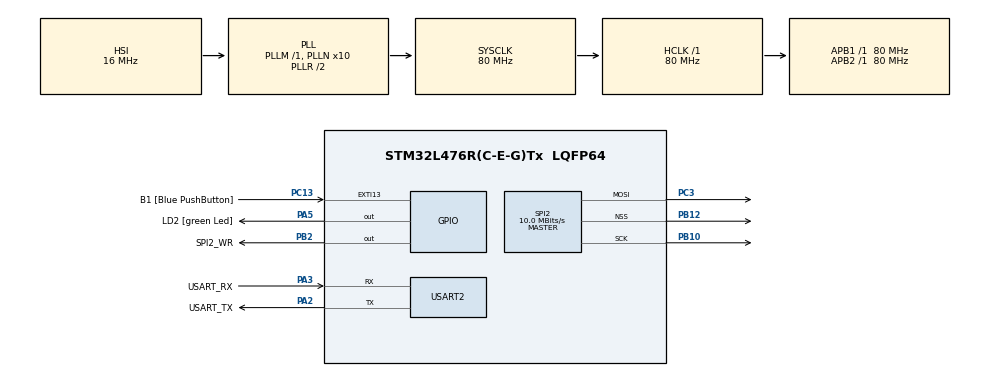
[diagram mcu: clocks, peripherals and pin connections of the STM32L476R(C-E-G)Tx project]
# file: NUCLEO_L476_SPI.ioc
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Dma.Request0=SPI2_TX
Dma.SPI2_TX.0.Direction=DMA_MEMORY_TO_PERIPH
Dma.SPI2_TX.0.Instance=DMA1_Channel5
Dma.SPI2_TX.0.MemDataAlignment=DMA_MDATAALIGN_BYTE
Dma.SPI2_TX.0.MemInc=DMA_MINC_ENABLE
Dma.SPI2_TX.0.Mode=DMA_NORMAL
Dma.SPI2_TX.0.PeriphDataAlignment=DMA_PDATAALIGN_BYTE
Dma.SPI2_TX.0.PeriphInc=DMA_PINC_DISABLE
Dma.SPI2_TX.0.Priority=DMA_PRIORITY_LOW
Mcu.Family=STM32L4
Mcu.Name=STM32L476R(C-E-G)Tx
Mcu.Package=LQFP64
NVIC.DMA1_Channel5_IRQn=true\:0\:0\:false\:false\:true\:false\:true
NVIC.PriorityGroup=NVIC_PRIORITYGROUP_4
PA13\ (JTMS-SWDIO).GPIO_Label=TMS
PA13\ (JTMS-SWDIO).Mode=Serial_Wire
PA13\ (JTMS-SWDIO).Signal=SYS_JTMS-SWDIO
PA14\ (JTCK-SWCLK).GPIO_Label=TCK
PA14\ (JTCK-SWCLK).Mode=Serial_Wire
PA14\ (JTCK-SWCLK).Signal=SYS_JTCK-SWCLK
PA2.GPIO_Label=USART_TX
PA2.GPIO_Mode=GPIO_MODE_AF_PP
PA2.GPIO_PuPd=GPIO_NOPULL
PA2.GPIO_Speed=GPIO_SPEED_FREQ_VERY_HIGH
PA2.Mode=Asynchronous
PA2.Signal=USART2_TX
PA3.GPIO_Label=USART_RX
PA3.GPIO_Mode=GPIO_MODE_AF_PP
PA3.GPIO_PuPd=GPIO_NOPULL
PA3.GPIO_Speed=GPIO_SPEED_FREQ_VERY_HIGH
PA3.Mode=Asynchronous
PA3.Signal=USART2_RX
PA5.GPIO_Label=LD2 [green Led]
PA5.GPIO_ModeDefaultOutputPP=GPIO_MODE_OUTPUT_PP
PA5.GPIO_PuPd=GPIO_NOPULL
PA5.GPIO_Speed=GPIO_SPEED_FREQ_LOW
PA5.Signal=GPIO_Output
PB10.Mode=TX_Only_Simplex_Unidirect_Master
PB10.Signal=SPI2_SCK
PB12.Mode=NSS_Signal_Hard_Output
PB12.Signal=SPI2_NSS
PB2.GPIO_Label=SPI2_WR
PB2.Signal=GPIO_Output
PB3\ (JTDO-TRACESWO).GPIO_Label=SWO
PB3\ (JTDO-TRACESWO).Signal=SYS_JTDO-SWO
PC13.GPIO_Label=B1 [Blue PushButton]
PC13.GPIO_ModeDefaultEXTI=GPIO_MODE_IT_FALLING
PC13.GPIO_PuPd=GPIO_NOPULL
PC13.Signal=GPXTI13
PC14-OSC32_IN\ (PC14).Mode=LSE-External-Oscillator
PC14-OSC32_IN\ (PC14).Signal=RCC_OSC32_IN
PC15-OSC32_OUT\ (PC15).Mode=LSE-External-Oscillator
PC15-OSC32_OUT\ (PC15).Signal=RCC_OSC32_OUT
PC3.Mode=TX_Only_Simplex_Unidirect_Master
PC3.Signal=SPI2_MOSI
PH0-OSC_IN\ (PH0).Signal=RCC_OSC_IN
PH1-OSC_OUT\ (PH1).Signal=RCC_OSC_OUT
ProjectManager.HeapSize=0x200
ProjectManager.StackSize=0x400
ProjectManager.TargetToolchain=STM32CubeIDE
RCC.ADCFreq_Value=64000000
RCC.AHBFreq_Value=80000000
RCC.APB1Freq_Value=80000000
RCC.APB1TimFreq_Value=80000000
RCC.APB2Freq_Value=80000000
RCC.APB2TimFreq_Value=80000000
RCC.CortexFreq_Value=80000000
RCC.HCLKFreq_Value=80000000
RCC.HSE_VALUE=8000000
RCC.HSI_VALUE=16000000
RCC.MSI_VALUE=4000000
RCC.PLLN=10
RCC.PLLSourceVirtual=RCC_PLLSOURCE_HSI
RCC.PREFETCH_ENABLE=1
RCC.SYSCLKFreq_VALUE=80000000
RCC.SYSCLKSource=RCC_SYSCLKSOURCE_PLLCLK
RCC.USBFreq_Value=64000000
RCC.VCOOutputFreq_Value=160000000
SPI2.BaudRatePrescaler=SPI_BAUDRATEPRESCALER_8
SPI2.CalculateBaudRate=10.0 MBits/s
SPI2.DataSize=SPI_DATASIZE_8BIT
SPI2.Direction=SPI_DIRECTION_2LINES
SPI2.Mode=SPI_MODE_MASTER
SPI2.VirtualNSS=VM_NSSHARD
SPI2.VirtualType=VM_MASTER
USART2.VirtualMode-Asynchronous=VM_ASYNC
board=NUCLEO-L476RG

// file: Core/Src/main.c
/* USER CODE BEGIN Header */
/**
  ******************************************************************************
  * @file           : main.c
  * @brief          : Main program body
  ******************************************************************************
  * @attention
  *
  * Copyright (c) 2021 STMicroelectronics.
  * All rights reserved.
  *
  * This software is licensed under terms that can be found in the LICENSE file
  * in the root directory of this software component.
  * If no LICENSE file comes with this software, it is provided AS-IS.
  *
  ******************************************************************************
  * SPI and UART communications with NUCLEO64-L476RG
  *
  * Juan M. Montes - jmontes@atc.us.es
  * ORCID: 0000-0002-0983-2386
  * GitHub: https://github.com/juamonsan
  *
  ******************************************************************************
  */

/* USER CODE END Header */
#include "main.h"

/* USER CODE BEGIN PD */
#define BUFFER_SIZE 3
/* USER CODE END PD */

SPI_HandleTypeDef hspi2;
DMA_HandleTypeDef hdma_spi2_tx;

UART_HandleTypeDef huart2;

/* USER CODE BEGIN PV */
uint8_t WR_flag = 0; //flag que indica que hay un dato listo para enviar

/* USER CODE END PV */

void SystemClock_Config(void);
static void MX_GPIO_Init(void);
static void MX_USART2_UART_Init(void);
static void MX_DMA_Init(void);
static void MX_SPI2_Init(void);

int main(void)
{
  /* USER CODE BEGIN 1 */
	uint16_t Spi_Tx_Buffer[BUFFER_SIZE] = {0}; //Para mandar por la UART/SPI
	//uint8_t Spi_Tx_Buffer[]="Hello world!\r\n"; //Para mandar por la UART/SPI

	uint16_t Accel_x, Accel_y, Accel_z;

  /* USER CODE END 1 */

  /* MCU Configuration--------------------------------------------------------*/

  /* Reset of all peripherals, Initializes the Flash interface and the Systick. */
  HAL_Init();

  /* Configure the system clock */
  SystemClock_Config();

  /* Initialize all configured peripherals */
  MX_GPIO_Init();
  MX_USART2_UART_Init();
  MX_DMA_Init();
  MX_SPI2_Init();

  /* Infinite loop */
  /* USER CODE BEGIN WHILE */
  while (1)
  {
	  //se actualiza el acelerómetro
	  Accel_x = 0xAABB; //datos ficticios fijos para debug de los 3 ejes
	  Accel_y = 0xCCDD;
	  Accel_z = 0xEEFF;

	  //se compone el buffer con las 3 lecturas
	  Spi_Tx_Buffer[0]=Accel_x;
	  Spi_Tx_Buffer[1]=Accel_y;
	  Spi_Tx_Buffer[2]=Accel_z;

	  WR_flag = 1; //There is data to send!

	  if (WR_flag==1){
		  HAL_GPIO_WritePin(SPI2_WR_GPIO_Port, SPI2_WR_Pin, SET); //Pone WR pin a 1
		  HAL_SPI_Transmit_DMA(&hspi2, (uint16_t*)Spi_Tx_Buffer, sizeof(Spi_Tx_Buffer)); //y envía SPI por DMA
	  }

	  //HAL_UART_Transmit(&huart2, (uint8_t*)Spi_Tx_Buffer, sizeof(Spi_Tx_Buffer), 100); //Envía por la UART2, solo para debug
	  //HAL_SPI_Transmit(&hspi2, (uint8_t*)Spi_Tx_Buffer, sizeof(Spi_Tx_Buffer), 100); //Envía por SPI la cadena Buffer (polling)
	  HAL_GPIO_TogglePin(LD2_GPIO_Port, LD2_Pin); //Stay alive LED
	  HAL_Delay(1000);

    /* USER CODE END WHILE */

  }
}

void SystemClock_Config(void)
{
  RCC_OscInitTypeDef RCC_OscInitStruct = {0};
  RCC_ClkInitTypeDef RCC_ClkInitStruct = {0};

  /** Configure the main internal regulator output voltage
  */
  if (HAL_PWREx_ControlVoltageScaling(PWR_REGULATOR_VOLTAGE_SCALE1) != HAL_OK)
  {
    Error_Handler();
  }
  /** Initializes the RCC Oscillators according to the specified parameters
  * in the RCC_OscInitTypeDef structure.
  */
  RCC_OscInitStruct.OscillatorType = RCC_OSCILLATORTYPE_HSI;
  RCC_OscInitStruct.HSIState = RCC_HSI_ON;
  RCC_OscInitStruct.HSICalibrationValue = RCC_HSICALIBRATION_DEFAULT;
  RCC_OscInitStruct.PLL.PLLState = RCC_PLL_ON;
  RCC_OscInitStruct.PLL.PLLSource = RCC_PLLSOURCE_HSI;
  RCC_OscInitStruct.PLL.PLLM = 1;
  RCC_OscInitStruct.PLL.PLLN = 10;
  RCC_OscInitStruct.PLL.PLLP = RCC_PLLP_DIV7;
  RCC_OscInitStruct.PLL.PLLQ = RCC_PLLQ_DIV2;
  RCC_OscInitStruct.PLL.PLLR = RCC_PLLR_DIV2;
  if (HAL_RCC_OscConfig(&RCC_OscInitStruct) != HAL_OK)
  {
    Error_Handler();
  }
  /** Initializes the CPU, AHB and APB buses clocks
  */
  RCC_ClkInitStruct.ClockType = RCC_CLOCKTYPE_HCLK|RCC_CLOCKTYPE_SYSCLK
                              |RCC_CLOCKTYPE_PCLK1|RCC_CLOCKTYPE_PCLK2;
  RCC_ClkInitStruct.SYSCLKSource = RCC_SYSCLKSOURCE_PLLCLK;
  RCC_ClkInitStruct.AHBCLKDivider = RCC_SYSCLK_DIV1;
  RCC_ClkInitStruct.APB1CLKDivider = RCC_HCLK_DIV1;
  RCC_ClkInitStruct.APB2CLKDivider = RCC_HCLK_DIV1;

  if (HAL_RCC_ClockConfig(&RCC_ClkInitStruct, FLASH_LATENCY_4) != HAL_OK)
  {
    Error_Handler();
  }
}

static void MX_SPI2_Init(void)
{

  /* SPI2 parameter configuration*/
  hspi2.Instance = SPI2;
  hspi2.Init.Mode = SPI_MODE_MASTER;
  hspi2.Init.Direction = SPI_DIRECTION_2LINES;
  hspi2.Init.DataSize = SPI_DATASIZE_8BIT;
  hspi2.Init.CLKPolarity = SPI_POLARITY_LOW;
  hspi2.Init.CLKPhase = SPI_PHASE_1EDGE;
  hspi2.Init.NSS = SPI_NSS_HARD_OUTPUT;
  hspi2.Init.BaudRatePrescaler = SPI_BAUDRATEPRESCALER_8;
  hspi2.Init.FirstBit = SPI_FIRSTBIT_MSB;
  hspi2.Init.TIMode = SPI_TIMODE_DISABLE;
  hspi2.Init.CRCCalculation = SPI_CRCCALCULATION_DISABLE;
  hspi2.Init.CRCPolynomial = 7;
  hspi2.Init.CRCLength = SPI_CRC_LENGTH_DATASIZE;
  hspi2.Init.NSSPMode = SPI_NSS_PULSE_ENABLE;
  if (HAL_SPI_Init(&hspi2) != HAL_OK)
  {
    Error_Handler();
  }

}

static void MX_USART2_UART_Init(void)
{

  huart2.Instance = USART2;
  huart2.Init.BaudRate = 115200;
  huart2.Init.WordLength = UART_WORDLENGTH_8B;
  huart2.Init.StopBits = UART_STOPBITS_1;
  huart2.Init.Parity = UART_PARITY_NONE;
  huart2.Init.Mode = UART_MODE_TX_RX;
  huart2.Init.HwFlowCtl = UART_HWCONTROL_NONE;
  huart2.Init.OverSampling = UART_OVERSAMPLING_16;
  huart2.Init.OneBitSampling = UART_ONE_BIT_SAMPLE_DISABLE;
  huart2.AdvancedInit.AdvFeatureInit = UART_ADVFEATURE_NO_INIT;
  if (HAL_UART_Init(&huart2) != HAL_OK)
  {
    Error_Handler();
  }

}

static void MX_DMA_Init(void)
{

  /* DMA controller clock enable */
  __HAL_RCC_DMA1_CLK_ENABLE();

  /* DMA interrupt init */
  /* DMA1_Channel5_IRQn interrupt configuration */
  HAL_NVIC_SetPriority(DMA1_Channel5_IRQn, 0, 0);
  HAL_NVIC_EnableIRQ(DMA1_Channel5_IRQn);

}

static void MX_GPIO_Init(void)
{
  GPIO_InitTypeDef GPIO_InitStruct = {0};

  /* GPIO Ports Clock Enable */
  __HAL_RCC_GPIOC_CLK_ENABLE();
  __HAL_RCC_GPIOH_CLK_ENABLE();
  __HAL_RCC_GPIOA_CLK_ENABLE();
  __HAL_RCC_GPIOB_CLK_ENABLE();

  /*Configure GPIO pin Output Level */
  HAL_GPIO_WritePin(LD2_GPIO_Port, LD2_Pin, GPIO_PIN_RESET);

  /*Configure GPIO pin Output Level */
  HAL_GPIO_WritePin(SPI2_WR_GPIO_Port, SPI2_WR_Pin, GPIO_PIN_RESET);

  /*Configure GPIO pin : B1_Pin */
  GPIO_InitStruct.Pin = B1_Pin;
  GPIO_InitStruct.Mode = GPIO_MODE_IT_FALLING;
  GPIO_InitStruct.Pull = GPIO_NOPULL;
  HAL_GPIO_Init(B1_GPIO_Port, &GPIO_InitStruct);

  /*Configure GPIO pin : LD2_Pin */
  GPIO_InitStruct.Pin = LD2_Pin;
  GPIO_InitStruct.Mode = GPIO_MODE_OUTPUT_PP;
  GPIO_InitStruct.Pull = GPIO_NOPULL;
  GPIO_InitStruct.Speed = GPIO_SPEED_FREQ_LOW;
  HAL_GPIO_Init(LD2_GPIO_Port, &GPIO_InitStruct);

  /*Configure GPIO pin : SPI2_WR_Pin */
  GPIO_InitStruct.Pin = SPI2_WR_Pin;
  GPIO_InitStruct.Mode = GPIO_MODE_OUTPUT_PP;
  GPIO_InitStruct.Pull = GPIO_NOPULL;
  GPIO_InitStruct.Speed = GPIO_SPEED_FREQ_LOW;
  HAL_GPIO_Init(SPI2_WR_GPIO_Port, &GPIO_InitStruct);

}

/* USER CODE BEGIN 4 */
void HAL_SPI_TxCpltCallback(SPI_HandleTypeDef *hspi)
{
    //Tx done, then this function is executed
	WR_flag = 0; //resets WR flag
	HAL_GPIO_WritePin(SPI2_WR_GPIO_Port, SPI2_WR_Pin, RESET); //Reset WR pin
}

/* USER CODE END 4 */

void Error_Handler(void)
{
  __disable_irq();
  while (1)
  {
  }
}
